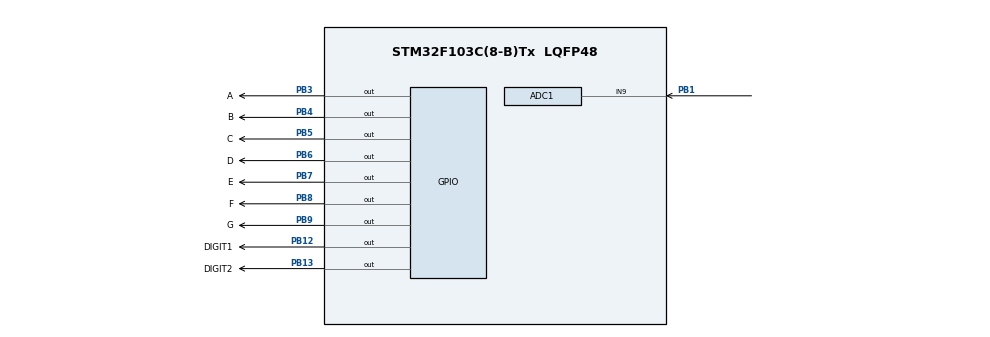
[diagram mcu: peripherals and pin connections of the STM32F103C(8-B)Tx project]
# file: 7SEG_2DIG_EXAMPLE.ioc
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ADC1.Channel-0\#ChannelRegularConversion=ADC_CHANNEL_9
ADC1.ContinuousConvMode=ENABLE
ADC1.NbrOfConversionFlag=1
ADC1.Rank-0\#ChannelRegularConversion=1
ADC1.SamplingTime-0\#ChannelRegularConversion=ADC_SAMPLETIME_1CYCLE_5
ADC1.master=1
Mcu.Family=STM32F1
Mcu.Name=STM32F103C(8-B)Tx
Mcu.Package=LQFP48
NVIC.PriorityGroup=NVIC_PRIORITYGROUP_4
PA13.Mode=Serial_Wire
PA13.Signal=SYS_JTMS-SWDIO
PA14.Mode=Serial_Wire
PA14.Signal=SYS_JTCK-SWCLK
PB1.Signal=ADCx_IN9
PB12.GPIO_Label=DIGIT1
PB12.Signal=GPIO_Output
PB13.GPIO_Label=DIGIT2
PB13.Signal=GPIO_Output
PB3.GPIO_Label=A
PB3.Signal=GPIO_Output
PB4.GPIO_Label=B
PB4.Signal=GPIO_Output
PB5.GPIO_Label=C
PB5.Signal=GPIO_Output
PB6.GPIO_Label=D
PB6.Signal=GPIO_Output
PB7.GPIO_Label=E
PB7.Signal=GPIO_Output
PB8.GPIO_Label=F
PB8.Signal=GPIO_Output
PB9.GPIO_Label=G
PB9.Signal=GPIO_Output
ProjectManager.HeapSize=0x200
ProjectManager.StackSize=0x400
ProjectManager.TargetToolchain=MDK-ARM V5.32
RCC.APB1Freq_Value=8000000
RCC.APB2Freq_Value=8000000
SH.ADCx_IN9.0=ADC1_IN9,IN9
board=custom

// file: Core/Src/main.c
/* USER CODE BEGIN Header */
/**
  ******************************************************************************
  * @file           : main.c
  * @brief          : Main program body
  ******************************************************************************
  * @attention
  *
  * <h2><center>&copy; Copyright (c) 2022 STMicroelectronics.
  * All rights reserved.</center></h2>
  *
  * This software component is licensed by ST under BSD 3-Clause license,
  * the "License"; You may not use this file except in compliance with the
  * License. You may obtain a copy of the License at:
  *                        opensource.org/licenses/BSD-3-Clause
  *
  ******************************************************************************
  */
/* USER CODE END Header */
#include "main.h"

/* USER CODE BEGIN PTD */
int hext[8],hexu[8];
int value=1,i,j;
/* USER CODE END PTD */

ADC_HandleTypeDef hadc1;

void SystemClock_Config(void);
static void MX_GPIO_Init(void);
static void MX_ADC1_Init(void);

/* USER CODE BEGIN 0 */
int convert(int valueRead)
{
	int number[10] = {64,121,36,48,25,18,3,120,0,24};
	int tensdigit,unitsdigit,unitsdigitv,tensdigitv,bolum,kalan;
	tensdigit = (valueRead/10);
	unitsdigit = (valueRead%10);

	tensdigitv = number[tensdigit];
	unitsdigitv = number[unitsdigit];

	for(int i =0; i<=5;i++)
	{

		bolum=tensdigitv/2;
		kalan=tensdigitv%2;
		hext[i]=kalan;
		tensdigitv=bolum;
		if(i==5)
		{
			hext[i+1]=bolum;
		}
	}

	for(int i =0; i<=5;i++)
	{
		bolum=unitsdigitv/2;
		kalan=unitsdigitv%2;
		hexu[i]=kalan;
		unitsdigitv=bolum;
		if(i==5)
		{
			hexu[i+1]=bolum;
		}
	}

	return 0;
}
int writedis()
{
	HAL_GPIO_WritePin(GPIOB,GPIO_PIN_13,0); // DIGIT 1 LOW
	HAL_GPIO_WritePin(GPIOB,GPIO_PIN_12,1); // DIGIT 0 HIGH
		HAL_GPIO_WritePin(GPIOB, GPIO_PIN_3, hext[0]); //B3
	  HAL_GPIO_WritePin(GPIOB, GPIO_PIN_4, hext[1]); //B4
	  HAL_GPIO_WritePin(GPIOB, GPIO_PIN_5, hext[2]); //B5
	  HAL_GPIO_WritePin(GPIOB, GPIO_PIN_6, hext[3]); //B6
	  HAL_GPIO_WritePin(GPIOB, GPIO_PIN_7, hext[4]); //B7
	  HAL_GPIO_WritePin(GPIOB, GPIO_PIN_8, hext[5]); //B8
	  HAL_GPIO_WritePin(GPIOB, GPIO_PIN_9, hext[6]); //B9
	HAL_Delay(3);

	HAL_GPIO_WritePin(GPIOB,GPIO_PIN_12,0); // DIGIT 0 LOW
	HAL_GPIO_WritePin(GPIOB,GPIO_PIN_13,1); // DIGIT 1 HIGH
		HAL_GPIO_WritePin(GPIOB, GPIO_PIN_3, hexu[0]); //B3
	  HAL_GPIO_WritePin(GPIOB, GPIO_PIN_4, hexu[1]); //B4
	  HAL_GPIO_WritePin(GPIOB, GPIO_PIN_5, hexu[2]); //B5
	  HAL_GPIO_WritePin(GPIOB, GPIO_PIN_6, hexu[3]); //B6
	  HAL_GPIO_WritePin(GPIOB, GPIO_PIN_7, hexu[4]); //B7
	  HAL_GPIO_WritePin(GPIOB, GPIO_PIN_8, hexu[5]); //B8
	  HAL_GPIO_WritePin(GPIOB, GPIO_PIN_9, hexu[6]); //B9
	HAL_Delay(3);

	return 0;
}
/* USER CODE END 0 */

int main(void)
{

  /* MCU Configuration--------------------------------------------------------*/

  /* Reset of all peripherals, Initializes the Flash interface and the Systick. */
  HAL_Init();

  /* Configure the system clock */
  SystemClock_Config();

  /* Initialize all configured peripherals */
  MX_GPIO_Init();
  MX_ADC1_Init();

  /* Infinite loop */
  while (1)
  {
		int i,k,adc1,loop;
    /* USER CODE BEGIN 3 */

			HAL_ADC_Start(&hadc1); // START ADC1
			HAL_ADC_PollForConversion(&hadc1, 1000); // ADC GIVE VALUE 1000 LOOP
			adc1 = HAL_ADC_GetValue(&hadc1); // WRITE VALUE
			loop=adc1/41; // 99-0 = (4096/41) OR (0/41)
			if(0<loop && loop<2) loop=0;
			convert(loop); // INT VALUE CONVERT DIGIT
			for(k=0;k<10;k++) // ALWAYS DISPLAY OPEN
			{
			writedis();
			}

  }
  /* USER CODE END 3 */
}

void SystemClock_Config(void)
{
  RCC_OscInitTypeDef RCC_OscInitStruct = {0};
  RCC_ClkInitTypeDef RCC_ClkInitStruct = {0};
  RCC_PeriphCLKInitTypeDef PeriphClkInit = {0};

  /** Initializes the RCC Oscillators according to the specified parameters
  * in the RCC_OscInitTypeDef structure.
  */
  RCC_OscInitStruct.OscillatorType = RCC_OSCILLATORTYPE_HSI;
  RCC_OscInitStruct.HSIState = RCC_HSI_ON;
  RCC_OscInitStruct.HSICalibrationValue = RCC_HSICALIBRATION_DEFAULT;
  RCC_OscInitStruct.PLL.PLLState = RCC_PLL_NONE;
  if (HAL_RCC_OscConfig(&RCC_OscInitStruct) != HAL_OK)
  {
    Error_Handler();
  }
  /** Initializes the CPU, AHB and APB buses clocks
  */
  RCC_ClkInitStruct.ClockType = RCC_CLOCKTYPE_HCLK|RCC_CLOCKTYPE_SYSCLK
                              |RCC_CLOCKTYPE_PCLK1|RCC_CLOCKTYPE_PCLK2;
  RCC_ClkInitStruct.SYSCLKSource = RCC_SYSCLKSOURCE_HSI;
  RCC_ClkInitStruct.AHBCLKDivider = RCC_SYSCLK_DIV1;
  RCC_ClkInitStruct.APB1CLKDivider = RCC_HCLK_DIV1;
  RCC_ClkInitStruct.APB2CLKDivider = RCC_HCLK_DIV1;

  if (HAL_RCC_ClockConfig(&RCC_ClkInitStruct, FLASH_LATENCY_0) != HAL_OK)
  {
    Error_Handler();
  }
  PeriphClkInit.PeriphClockSelection = RCC_PERIPHCLK_ADC;
  PeriphClkInit.AdcClockSelection = RCC_ADCPCLK2_DIV2;
  if (HAL_RCCEx_PeriphCLKConfig(&PeriphClkInit) != HAL_OK)
  {
    Error_Handler();
  }
}

static void MX_ADC1_Init(void)
{

  ADC_ChannelConfTypeDef sConfig = {0};

  /** Common config
  */
  hadc1.Instance = ADC1;
  hadc1.Init.ScanConvMode = ADC_SCAN_DISABLE;
  hadc1.Init.ContinuousConvMode = ENABLE;
  hadc1.Init.DiscontinuousConvMode = DISABLE;
  hadc1.Init.ExternalTrigConv = ADC_SOFTWARE_START;
  hadc1.Init.DataAlign = ADC_DATAALIGN_RIGHT;
  hadc1.Init.NbrOfConversion = 1;
  if (HAL_ADC_Init(&hadc1) != HAL_OK)
  {
    Error_Handler();
  }
  /** Configure Regular Channel
  */
  sConfig.Channel = ADC_CHANNEL_9;
  sConfig.Rank = ADC_REGULAR_RANK_1;
  sConfig.SamplingTime = ADC_SAMPLETIME_1CYCLE_5;
  if (HAL_ADC_ConfigChannel(&hadc1, &sConfig) != HAL_OK)
  {
    Error_Handler();
  }

}

static void MX_GPIO_Init(void)
{
  GPIO_InitTypeDef GPIO_InitStruct = {0};

  /* GPIO Ports Clock Enable */
  __HAL_RCC_GPIOB_CLK_ENABLE();
  __HAL_RCC_GPIOA_CLK_ENABLE();

  /*Configure GPIO pin Output Level */
  HAL_GPIO_WritePin(GPIOB, DIGIT1_Pin|DIGIT2_Pin|A_Pin|B_Pin
                          |C_Pin|D_Pin|E_Pin|F_Pin
                          |G_Pin, GPIO_PIN_RESET);

  /*Configure GPIO pins : DIGIT1_Pin DIGIT2_Pin A_Pin B_Pin
                           C_Pin D_Pin E_Pin F_Pin
                           G_Pin */
  GPIO_InitStruct.Pin = DIGIT1_Pin|DIGIT2_Pin|A_Pin|B_Pin
                          |C_Pin|D_Pin|E_Pin|F_Pin
                          |G_Pin;
  GPIO_InitStruct.Mode = GPIO_MODE_OUTPUT_PP;
  GPIO_InitStruct.Pull = GPIO_NOPULL;
  GPIO_InitStruct.Speed = GPIO_SPEED_FREQ_LOW;
  HAL_GPIO_Init(GPIOB, &GPIO_InitStruct);

}

void Error_Handler(void)
{
  __disable_irq();
  while (1)
  {
  }
}

/************************ (C) COPYRIGHT STMicroelectronics *****END OF FILE****/
